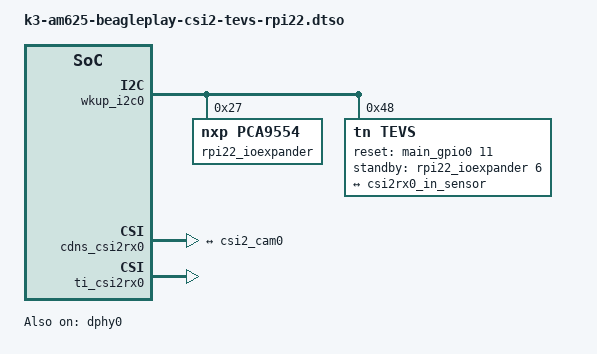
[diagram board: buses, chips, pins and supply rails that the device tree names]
// SPDX-License-Identifier: GPL-2.0
/*
 * Technexion TEVS-RPI22 - TEVS camera module with TEV-RPI22 adaptor
 * Copyright (C) 2024 Technexion Incorporated
 */

/dts-v1/;
/plugin/;

#include <dt-bindings/gpio/gpio.h>

&wkup_i2c0 {
	#address-cells = <1>;
	#size-cells = <0>;
	status = "okay";

	rpi22_ioexpander: pca9554@27 {
		compatible = "nxp,pca9554";
		reg = <0x27>;
		gpio-controller;
		#gpio-cells = <2>;
		gpio-line-names = "EXPOSURE_TRIG_IN1",
						  "FLASH_OUT1",
						  "CAM_SHUTTER1",
						  "XVS1",
						  "CSI1_PDB",
						  "CSI1_INT",
						  "INFO_TRIG_IN1",
						  "CSI1_RST_N";
		status = "okay";
	};

	tevs: tevs@48 {
		status = "okay";
		compatible = "tn,tevs";
		reg = <0x48>;

		reset-gpios = <&main_gpio0 11 GPIO_ACTIVE_HIGH>;
		standby-gpios = <&rpi22_ioexpander 6 GPIO_ACTIVE_HIGH>;

		data-lanes = <4>;
		data-frequency = <800>;
		continuous-clock = <0>;

		port {
			csi2_cam0: endpoint {
				remote-endpoint = <&csi2rx0_in_sensor>;
				clock-lanes = <0>;
				data-lanes = <1 2 3 4>;
			};
		};
	};
};

&cdns_csi2rx0 {
	ports {
		#address-cells = <1>;
		#size-cells = <0>;

		csi0_port0: port@0 {
			reg = <0>;
			status = "okay";

			csi2rx0_in_sensor: endpoint {
				remote-endpoint = <&csi2_cam0>;
				bus-type = <4>; /* CSI2 DPHY. */
				clock-lanes = <0>;
				data-lanes = <1 2 3 4>;
			};
		};
	};
};

&dphy0 {
	status = "okay";
};

&ti_csi2rx0 {
	status = "okay";
};
